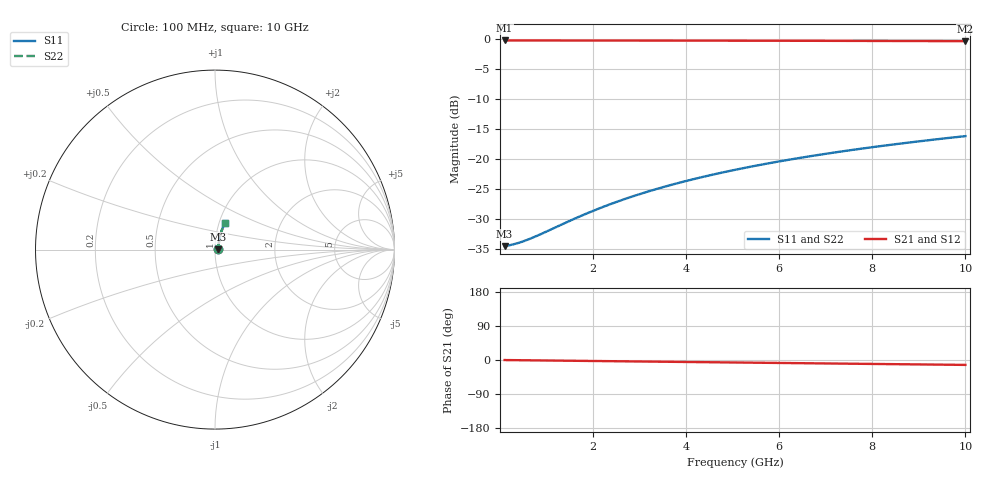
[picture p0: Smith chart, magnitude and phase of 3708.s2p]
# Hz S RI R 50.00
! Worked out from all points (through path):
!   100 points, 100 MHz to 10 GHz, reference 50 ohm
!   highest |S21| = -0.16 dB at 100 MHz (marker M1); lowest = -0.3 dB at 10 GHz (marker M2)
!   group delay of S21, straight-line fit = 3.6 ps
!   lowest |S11| = -34.6 dB at 100 MHz (marker M3), VSWR 1.04, Z = 51.9 + j0.159 ohm
!   |S11| at or under -10 dB: start of sweep to end of sweep
!   |S22| runs from -34.6 to -16.2 dB; largest |S21 - S12| = 0
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1e8  0.0187 0.00153  0.9813 -0.00223  0.9813 -0.00223  0.0187 0.00153
3e8  0.0189 0.00458  0.9811 -0.0067  0.9811 -0.0067  0.0189 0.00458
4e8  0.019 0.00611  0.981 -0.00893  0.981 -0.00893  0.019 0.00611
6e8  0.0192 0.00916  0.9808 -0.0134  0.9808 -0.0134  0.0192 0.00916
9e8  0.0195 0.0137  0.9805 -0.0201  0.9805 -0.0201  0.0195 0.0137
1.5e9  0.0201 0.0229  0.9798 -0.0334  0.9798 -0.0334  0.0201 0.0229
1.8e9  0.0206 0.0274  0.9793 -0.0401  0.9793 -0.0401  0.0206 0.0274
2.2e9  0.0212 0.0335  0.9787 -0.049  0.9787 -0.049  0.0212 0.0335
2.6e9  0.0219 0.0395  0.9779 -0.0579  0.9779 -0.0579  0.0219 0.0395
3e9  0.0228 0.0455  0.977 -0.0667  0.977 -0.0667  0.0228 0.0455
3.4e9  0.0237 0.0516  0.9759 -0.0756  0.9759 -0.0756  0.0237 0.0516
3.8e9  0.0248 0.0575  0.9748 -0.0844  0.9748 -0.0844  0.0248 0.0575
4.2e9  0.0259 0.0635  0.9736 -0.0932  0.9736 -0.0932  0.0259 0.0635
4.6e9  0.0272 0.0694  0.9722 -0.1019  0.9722 -0.1019  0.0272 0.0694
5.1e9  0.0289 0.0768  0.9704 -0.1129  0.9704 -0.1129  0.0289 0.0768
5.5e9  0.0304 0.0827  0.9688 -0.1216  0.9688 -0.1216  0.0304 0.0827
5.9e9  0.032 0.0885  0.9671 -0.1302  0.9671 -0.1302  0.032 0.0885
6.7e9  0.0355 0.1001  0.9633 -0.1475  0.9633 -0.1475  0.0355 0.1001
7.5e9  0.0394 0.1115  0.9591 -0.1645  0.9591 -0.1645  0.0394 0.1115
8.4e9  0.0443 0.1241  0.9539 -0.1835  0.9539 -0.1835  0.0443 0.1241
9.2e9  0.049 0.1351  0.9488 -0.2002  0.9488 -0.2002  0.049 0.1351
1e10  0.0541 0.1459  0.9433 -0.2167  0.9433 -0.2167  0.0541 0.1459
